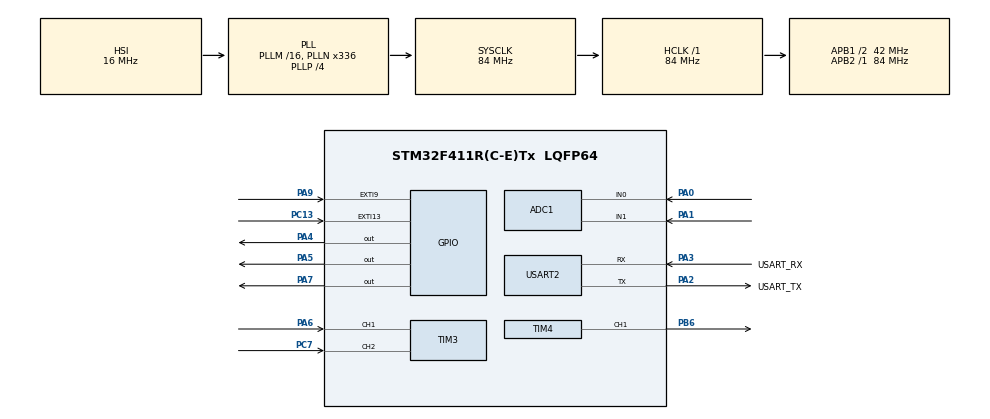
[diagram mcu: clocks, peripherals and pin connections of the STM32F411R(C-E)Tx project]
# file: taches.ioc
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ADC1.Channel-12\#ChannelRegularConversion=ADC_CHANNEL_0
ADC1.Channel-13\#ChannelRegularConversion=ADC_CHANNEL_1
ADC1.ContinuousConvMode=ENABLE
ADC1.DMAContinuousRequests=ENABLE
ADC1.NbrOfConversion=2
ADC1.NbrOfConversionFlag=1
ADC1.Rank-12\#ChannelRegularConversion=1
ADC1.Rank-13\#ChannelRegularConversion=2
ADC1.SamplingTime-12\#ChannelRegularConversion=ADC_SAMPLETIME_3CYCLES
ADC1.SamplingTime-13\#ChannelRegularConversion=ADC_SAMPLETIME_3CYCLES
ADC1.ScanConvMode=ENABLE
ADC1.master=1
Dma.ADC1.0.Direction=DMA_PERIPH_TO_MEMORY
Dma.ADC1.0.FIFOMode=DMA_FIFOMODE_DISABLE
Dma.ADC1.0.Instance=DMA2_Stream0
Dma.ADC1.0.MemDataAlignment=DMA_MDATAALIGN_HALFWORD
Dma.ADC1.0.MemInc=DMA_MINC_ENABLE
Dma.ADC1.0.Mode=DMA_NORMAL
Dma.ADC1.0.PeriphDataAlignment=DMA_PDATAALIGN_HALFWORD
Dma.ADC1.0.PeriphInc=DMA_PINC_DISABLE
Dma.ADC1.0.Priority=DMA_PRIORITY_LOW
Dma.Request0=ADC1
Mcu.Family=STM32F4
Mcu.Name=STM32F411R(C-E)Tx
Mcu.Package=LQFP64
NVIC.ADC_IRQn=true\:0\:0\:false\:false\:true\:true\:true\:true
NVIC.DMA2_Stream0_IRQn=true\:0\:0\:false\:false\:true\:false\:true\:true
NVIC.EXTI15_10_IRQn=true\:0\:0\:false\:false\:true\:true\:true\:true
NVIC.EXTI9_5_IRQn=true\:0\:0\:false\:false\:true\:true\:true\:true
NVIC.PriorityGroup=NVIC_PRIORITYGROUP_0
NVIC.TIM1_UP_TIM10_IRQn=true\:0\:0\:false\:false\:true\:true\:true\:true
NVIC.TIM2_IRQn=true\:0\:0\:false\:false\:true\:true\:true\:true
PA0-WKUP.Signal=ADCx_IN0
PA1.Signal=ADCx_IN1
PA13.GPIO_Label=TMS
PA13.Mode=Serial_Wire
PA13.Signal=SYS_JTMS-SWDIO
PA14.GPIO_Label=TCK
PA14.Mode=Serial_Wire
PA14.Signal=SYS_JTCK-SWCLK
PA2.GPIO_Label=USART_TX
PA2.Mode=Asynchronous
PA2.Signal=USART2_TX
PA3.GPIO_Label=USART_RX
PA3.Mode=Asynchronous
PA3.Signal=USART2_RX
PA4.Signal=GPIO_Output
PA5.Signal=GPIO_Output
PA6.Signal=S_TIM3_CH1
PA7.Signal=GPIO_Output
PA9.GPIO_ModeDefaultEXTI=GPIO_MODE_IT_RISING
PA9.Signal=GPXTI9
PB3.GPIO_Label=SWO
PB3.Signal=SYS_JTDO-SWO
PB6.Signal=S_TIM4_CH1
PC13-ANTI_TAMP.GPIO_ModeDefaultEXTI=GPIO_MODE_IT_FALLING
PC13-ANTI_TAMP.GPIO_PuPd=GPIO_PULLUP
PC13-ANTI_TAMP.Signal=GPXTI13
PC14-OSC32_IN.Mode=LSE-External-Oscillator
PC14-OSC32_IN.Signal=RCC_OSC32_IN
PC15-OSC32_OUT.Mode=LSE-External-Oscillator
PC15-OSC32_OUT.Signal=RCC_OSC32_OUT
PC7.Signal=S_TIM3_CH2
PH0\ -\ OSC_IN.Mode=HSE-External-Clock-Source
PH0\ -\ OSC_IN.Signal=RCC_OSC_IN
PH1\ -\ OSC_OUT.Mode=HSE-External-Clock-Source
PH1\ -\ OSC_OUT.Signal=RCC_OSC_OUT
ProjectManager.HeapSize=0x200
ProjectManager.StackSize=0x400
ProjectManager.TargetToolchain=STM32CubeIDE
RCC.48MHZClocksFreq_Value=84000000
RCC.AHBFreq_Value=84000000
RCC.APB1CLKDivider=RCC_HCLK_DIV2
RCC.APB1Freq_Value=42000000
RCC.APB1TimFreq_Value=84000000
RCC.APB2Freq_Value=84000000
RCC.APB2TimFreq_Value=84000000
RCC.CortexFreq_Value=84000000
RCC.FLatency-AdvancedSettings=FLASH_LATENCY_2
RCC.HCLKFreq_Value=84000000
RCC.HSE_VALUE=8000000
RCC.HSI_VALUE=16000000
RCC.PLLN=336
RCC.PLLP=RCC_PLLP_DIV4
RCC.SYSCLKFreq_VALUE=84000000
RCC.SYSCLKSource=RCC_SYSCLKSOURCE_PLLCLK
RCC.VCOOutputFreq_Value=336000000
SH.ADCx_IN0.0=ADC1_IN0,IN0
SH.ADCx_IN1.0=ADC1_IN1,IN1
SH.S_TIM3_CH1.0=TIM3_CH1,Encoder_Interface
SH.S_TIM3_CH2.0=TIM3_CH2,Encoder_Interface
SH.S_TIM4_CH1.0=TIM4_CH1,PWM Generation1 CH1
TIM1.Period=9
TIM1.Prescaler=8399
TIM2.Period=9
TIM2.Prescaler=8399
TIM3.EncoderMode=TIM_ENCODERMODE_TI12
TIM4.Channel-PWM\ Generation1\ CH1=TIM_CHANNEL_1
TIM4.Period=2099
USART2.VirtualMode=VM_ASYNC
VP_TIM1_VS_ClockSourceINT.Mode=Internal
VP_TIM2_VS_ClockSourceINT.Mode=Internal
VP_TIM4_VS_ClockSourceINT.Mode=Internal
board=NUCLEO-F411RE

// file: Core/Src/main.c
/* USER CODE BEGIN Header */
/**
  ******************************************************************************
  * @file           : main.c
  * @brief          : Main program body
  ******************************************************************************
  */
/* USER CODE END Header */
#include "main.h"

/* USER CODE BEGIN Includes */
#include <stdio.h>
#include <string.h>
/* USER CODE END Includes */

ADC_HandleTypeDef hadc1;
DMA_HandleTypeDef hdma_adc1;

TIM_HandleTypeDef htim1;
TIM_HandleTypeDef htim2;
TIM_HandleTypeDef htim3;
TIM_HandleTypeDef htim4;

UART_HandleTypeDef huart2;

void SystemClock_Config(void);
static void MX_GPIO_Init(void);
static void MX_DMA_Init(void);
static void MX_TIM1_Init(void);
static void MX_USART2_UART_Init(void);
static void MX_ADC1_Init(void);
static void MX_TIM3_Init(void);
static void MX_TIM4_Init(void);
static void MX_TIM2_Init(void);

/* USER CODE BEGIN 0 */
#define IN1_PIN  GPIO_PIN_4   // direction avant

#define IN_PORT  GPIOA
#define PWM_MAX  2099
#define VITESSE_MAX_RPM  250   // vitesse max du moteur (consigne 250 tr/min -> PWM max)

uint32_t counter = 0;
uint32_t valeur_brute = 0;
uint32_t valeur_courant_brute = 0;
float tension_volts = 0.0f;
float tension_courant = 0.0f;
float courant = 0.0f;
int16_t  count_precedent = 0;
volatile  int32_t  vitesse_rpm    = 0;
volatile uint8_t flag_1s = 0;
volatile uint8_t flag_100ms = 0;
volatile uint8_t sens = 0;
static int32_t position_precedente=0;
static uint32_t last_index_tick = 0;
static uint32_t tau=0;
static uint32_t temp2=0;
static uint32_t now=0;
uint16_t adc_buffer[2];

int tour;
volatile static int32_t count_actuel;

#define RESOLUTION_ENCODEUR  500
#define RAPPORT_REDUCTION    16

// Reception UART (commandes envoyees par l'IHM)
uint8_t rx_byte;
uint8_t rx_buffer[50];
uint8_t rx_index = 0;

// Controle du moteur depuis l'IHM (PC)
volatile uint8_t motor_running = 0;
volatile int32_t consigne_vitesse_rpm = 150;
volatile uint32_t current_pwm = 0;

void moteur_sens(uint8_t sens);

/* USER CODE END 0 */

int main(void)
{

  /* MCU Configuration--------------------------------------------------------*/

  /* Reset of all peripherals, Initializes the Flash interface and the Systick. */
  HAL_Init();

  /* Configure the system clock */
  SystemClock_Config();

  /* Initialize all configured peripherals */
  MX_GPIO_Init();
  MX_DMA_Init();
  MX_TIM1_Init();
  MX_USART2_UART_Init();
  MX_ADC1_Init();
  MX_TIM3_Init();
  MX_TIM4_Init();
  MX_TIM2_Init();
  /* USER CODE BEGIN 2 */
  HAL_TIM_Encoder_Start(&htim3, TIM_CHANNEL_ALL);

  // Timer 1ms pour les tâches périodiques
  HAL_TIM_Base_Start_IT(&htim1);

  HAL_TIM_Base_Start_IT(&htim2);

  // Direction moteur : AVANT (IN1=1, IN2=0)
  HAL_GPIO_WritePin(IN_PORT, IN1_PIN, 1);

  // Démarrer le PWM sur TIM3 Channel 1 (PA6)
  HAL_TIM_PWM_Start(&htim4, TIM_CHANNEL_1);

  // Duty cycle initial à 50%
  __HAL_TIM_SET_COMPARE(&htim4, TIM_CHANNEL_1, 500);
  HAL_ADC_Start_DMA(&hadc1,(uint32_t*)adc_buffer, 2);

  // Demarrer la reception UART par interruption (commandes de l'IHM)
  HAL_UART_Receive_IT(&huart2, &rx_byte, 1);

  /* USER CODE END 2 */

  /* Infinite loop */
  while (1)
  {

    /* USER CODE BEGIN 3 */
	  if(flag_1s)
	  	      {
	  	          flag_1s = 0;

	  	             // Tâche 1 : LED blink
	  	            // HAL_GPIO_TogglePin(LD2_GPIO_Port, LD2_Pin);
	  	       // HAL_GPIO_TogglePin(GPIOA, GPIO_PIN_5);

	  	             // Tâche 2 : lecture ADC (potentiomètre → consigne vitesse)

	  	             valeur_brute= adc_buffer[0];
	  	               valeur_courant_brute = adc_buffer[1];

	  	             tension_volts = valeur_brute * 3.3f / 4095.0f;
	  	             tension_courant=valeur_courant_brute * 3.3f / 4095.0f;
	  	             courant=(tension_courant/0.05f)/200.0f;

	  	             // Mode par defaut : PWM pilote par le potentiometre (ADC).
	  	             // Apres START depuis l'IHM (motor_running=1) : PWM pilote par la consigne PC.
	  	             uint32_t duty;
	  	             if (motor_running)
	  	             {
	  	                 duty = current_pwm;                          // consigne IHM
	  	             }
	  	             else
	  	             {
	  	                 duty = (valeur_brute * PWM_MAX) / 4095.0f;   // potentiometre
	  	             }
	  	             __HAL_TIM_SET_COMPARE(&htim4, TIM_CHANNEL_1, duty);

	  	             // Tâche 3 : UART
	  	             char msg[120];
	  	             int partie_entiere = (int)tension_volts;
	  	             int partie_decimale = (int)((tension_volts - partie_entiere) * 100);

	  	           int partie_entiere_courant = (int)courant;
	  	           int partie_decimale_courant =
	  	                   (int)((courant - partie_entiere_courant) * 100);
	  	         sprintf(msg,
	  	                 "ADC:%u  Tension:%d.%02dV  Courant:%d.%02dA  tau:%u  PWM:%lu  Vitesse:%ld RPM\r\n",
	  	                 (unsigned int)valeur_brute,
	  	                 partie_entiere,
	  	                 partie_decimale,
	  	                 partie_entiere_courant,
	  	                 partie_decimale_courant,
	  	                 tau,
	  	                 duty,
	  	                 vitesse_rpm);

	  	            /* sprintf(msg, "ADC:%u  PWM:%lu  Count:%u  Delta:%d  Vitesse:%ld RPM\r\n",
	  	                         (unsigned int)valeur_brute,
	  	                         duty,
	  	                         (unsigned int)__HAL_TIM_GET_COUNTER(&htim4),
	  	                         (int)delta,
	  	                         vitesse_rpm);*/
	  	             HAL_UART_Transmit(&huart2, (uint8_t*)msg, strlen(msg), HAL_MAX_DELAY);

	    }
	  	   if(flag_100ms)
	        {
	  		  if(vitesse_rpm!=0 && now==0){

	  			 now = HAL_GetTick();

	  		  }

	  		int sens_encodeur = __HAL_TIM_IS_TIM_COUNTING_DOWN(&htim3);
	            flag_100ms = 0;
	             count_actuel = (int32_t)__HAL_TIM_GET_COUNTER(&htim3);
	            int32_t delta = count_actuel - count_precedent;

	            // correction overflow 16 bits
	            if(delta > 32767) delta -= 65536;
	            if(delta < -32768) delta += 65536;

	            count_precedent = count_actuel;

	            vitesse_rpm = (delta * 600) / (RESOLUTION_ENCODEUR *4* RAPPORT_REDUCTION);

	            if(sens_encodeur){
	            	vitesse_rpm*=-1;

	                	}
	            if(vitesse_rpm>=218 && temp2==0){
	           	            	temp2=HAL_GetTick();

	           	            }

	           	            if(now != 0 && temp2 != 0)
	           	            {
	           	                tau = temp2 - now;
	           	            }

	  			/*int sens_encodeur = __HAL_TIM_IS_TIM_COUNTING_DOWN(&htim4);

	  			    	 count_actuel = (int32_t)__HAL_TIM_GET_COUNTER(&htim4);

	  			    	if(!sens_encodeur){
	  			    		tour++;
	  			    		__HAL_TIM_SET_COUNTER(&htim4, 0);

	  			    	}
	  			    	else{
	  			    		tour--;
	  			    		__HAL_TIM_SET_COUNTER(&htim4, 2000);

	  			    	}
	  			    	int32_t position=tour*RESOLUTION_ENCODEUR*4 + count_actuel;

	  			    	   /* vitesse_rpm = ((position - position_precedente) ) / (4*RESOLUTION_ENCODEUR*RAPPORT_REDUCTION*60*0.1 );
	  			    	vitesse_rpm = (int32_t)((float)(position - position_precedente)* 60.0f
	  			    		  			    	                / (4.0f * RESOLUTION_ENCODEUR * RAPPORT_REDUCTION * 0.1f));
	  			    	    position_precedente=position;*/

	    }
	    }
  /* USER CODE END 3 */
}

void SystemClock_Config(void)
{
  RCC_OscInitTypeDef RCC_OscInitStruct = {0};
  RCC_ClkInitTypeDef RCC_ClkInitStruct = {0};

  /** Configure the main internal regulator output voltage
  */
  __HAL_RCC_PWR_CLK_ENABLE();
  __HAL_PWR_VOLTAGESCALING_CONFIG(PWR_REGULATOR_VOLTAGE_SCALE1);

  /** Initializes the RCC Oscillators according to the specified parameters
  * in the RCC_OscInitTypeDef structure.
  */
  RCC_OscInitStruct.OscillatorType = RCC_OSCILLATORTYPE_HSI;
  RCC_OscInitStruct.HSIState = RCC_HSI_ON;
  RCC_OscInitStruct.HSICalibrationValue = RCC_HSICALIBRATION_DEFAULT;
  RCC_OscInitStruct.PLL.PLLState = RCC_PLL_ON;
  RCC_OscInitStruct.PLL.PLLSource = RCC_PLLSOURCE_HSI;
  RCC_OscInitStruct.PLL.PLLM = 16;
  RCC_OscInitStruct.PLL.PLLN = 336;
  RCC_OscInitStruct.PLL.PLLP = RCC_PLLP_DIV4;
  RCC_OscInitStruct.PLL.PLLQ = 4;
  if (HAL_RCC_OscConfig(&RCC_OscInitStruct) != HAL_OK)
  {
    Error_Handler();
  }

  /** Initializes the CPU, AHB and APB buses clocks
  */
  RCC_ClkInitStruct.ClockType = RCC_CLOCKTYPE_HCLK|RCC_CLOCKTYPE_SYSCLK
                              |RCC_CLOCKTYPE_PCLK1|RCC_CLOCKTYPE_PCLK2;
  RCC_ClkInitStruct.SYSCLKSource = RCC_SYSCLKSOURCE_PLLCLK;
  RCC_ClkInitStruct.AHBCLKDivider = RCC_SYSCLK_DIV1;
  RCC_ClkInitStruct.APB1CLKDivider = RCC_HCLK_DIV2;
  RCC_ClkInitStruct.APB2CLKDivider = RCC_HCLK_DIV1;

  if (HAL_RCC_ClockConfig(&RCC_ClkInitStruct, FLASH_LATENCY_2) != HAL_OK)
  {
    Error_Handler();
  }
}

static void MX_ADC1_Init(void)
{

  ADC_ChannelConfTypeDef sConfig = {0};

  /** Configure the global features of the ADC (Clock, Resolution, Data Alignment and number of conversion)
  */
  hadc1.Instance = ADC1;
  hadc1.Init.ClockPrescaler = ADC_CLOCK_SYNC_PCLK_DIV4;
  hadc1.Init.Resolution = ADC_RESOLUTION_12B;
  hadc1.Init.ScanConvMode = ENABLE;
  hadc1.Init.ContinuousConvMode = ENABLE;
  hadc1.Init.DiscontinuousConvMode = DISABLE;
  hadc1.Init.ExternalTrigConvEdge = ADC_EXTERNALTRIGCONVEDGE_NONE;
  hadc1.Init.ExternalTrigConv = ADC_SOFTWARE_START;
  hadc1.Init.DataAlign = ADC_DATAALIGN_RIGHT;
  hadc1.Init.NbrOfConversion = 2;
  hadc1.Init.DMAContinuousRequests = ENABLE;
  hadc1.Init.EOCSelection = ADC_EOC_SINGLE_CONV;
  if (HAL_ADC_Init(&hadc1) != HAL_OK)
  {
    Error_Handler();
  }

  /** Configure for the selected ADC regular channel its corresponding rank in the sequencer and its sample time.
  */
  sConfig.Channel = ADC_CHANNEL_0;
  sConfig.Rank = 1;
  sConfig.SamplingTime = ADC_SAMPLETIME_3CYCLES;
  if (HAL_ADC_ConfigChannel(&hadc1, &sConfig) != HAL_OK)
  {
    Error_Handler();
  }

  /** Configure for the selected ADC regular channel its corresponding rank in the sequencer and its sample time.
  */
  sConfig.Channel = ADC_CHANNEL_1;
  sConfig.Rank = 2;
  if (HAL_ADC_ConfigChannel(&hadc1, &sConfig) != HAL_OK)
  {
    Error_Handler();
  }

}

static void MX_TIM1_Init(void)
{

  TIM_ClockConfigTypeDef sClockSourceConfig = {0};
  TIM_MasterConfigTypeDef sMasterConfig = {0};

  htim1.Instance = TIM1;
  htim1.Init.Prescaler = 8399;
  htim1.Init.CounterMode = TIM_COUNTERMODE_UP;
  htim1.Init.Period = 9;
  htim1.Init.ClockDivision = TIM_CLOCKDIVISION_DIV1;
  htim1.Init.RepetitionCounter = 0;
  htim1.Init.AutoReloadPreload = TIM_AUTORELOAD_PRELOAD_DISABLE;
  if (HAL_TIM_Base_Init(&htim1) != HAL_OK)
  {
    Error_Handler();
  }
  sClockSourceConfig.ClockSource = TIM_CLOCKSOURCE_INTERNAL;
  if (HAL_TIM_ConfigClockSource(&htim1, &sClockSourceConfig) != HAL_OK)
  {
    Error_Handler();
  }
  sMasterConfig.MasterOutputTrigger = TIM_TRGO_RESET;
  sMasterConfig.MasterSlaveMode = TIM_MASTERSLAVEMODE_DISABLE;
  if (HAL_TIMEx_MasterConfigSynchronization(&htim1, &sMasterConfig) != HAL_OK)
  {
    Error_Handler();
  }

}

static void MX_TIM2_Init(void)
{

  TIM_ClockConfigTypeDef sClockSourceConfig = {0};
  TIM_MasterConfigTypeDef sMasterConfig = {0};

  htim2.Instance = TIM2;
  htim2.Init.Prescaler = 8399;
  htim2.Init.CounterMode = TIM_COUNTERMODE_UP;
  htim2.Init.Period = 9;
  htim2.Init.ClockDivision = TIM_CLOCKDIVISION_DIV1;
  htim2.Init.AutoReloadPreload = TIM_AUTORELOAD_PRELOAD_DISABLE;
  if (HAL_TIM_Base_Init(&htim2) != HAL_OK)
  {
    Error_Handler();
  }
  sClockSourceConfig.ClockSource = TIM_CLOCKSOURCE_INTERNAL;
  if (HAL_TIM_ConfigClockSource(&htim2, &sClockSourceConfig) != HAL_OK)
  {
    Error_Handler();
  }
  sMasterConfig.MasterOutputTrigger = TIM_TRGO_RESET;
  sMasterConfig.MasterSlaveMode = TIM_MASTERSLAVEMODE_DISABLE;
  if (HAL_TIMEx_MasterConfigSynchronization(&htim2, &sMasterConfig) != HAL_OK)
  {
    Error_Handler();
  }

}

static void MX_TIM3_Init(void)
{

  TIM_Encoder_InitTypeDef sConfig = {0};
  TIM_MasterConfigTypeDef sMasterConfig = {0};

  htim3.Instance = TIM3;
  htim3.Init.Prescaler = 0;
  htim3.Init.CounterMode = TIM_COUNTERMODE_UP;
  htim3.Init.Period = 65535;
  htim3.Init.ClockDivision = TIM_CLOCKDIVISION_DIV1;
  htim3.Init.AutoReloadPreload = TIM_AUTORELOAD_PRELOAD_DISABLE;
  sConfig.EncoderMode = TIM_ENCODERMODE_TI12;
  sConfig.IC1Polarity = TIM_ICPOLARITY_RISING;
  sConfig.IC1Selection = TIM_ICSELECTION_DIRECTTI;
  sConfig.IC1Prescaler = TIM_ICPSC_DIV1;
  sConfig.IC1Filter = 0;
  sConfig.IC2Polarity = TIM_ICPOLARITY_RISING;
  sConfig.IC2Selection = TIM_ICSELECTION_DIRECTTI;
  sConfig.IC2Prescaler = TIM_ICPSC_DIV1;
  sConfig.IC2Filter = 0;
  if (HAL_TIM_Encoder_Init(&htim3, &sConfig) != HAL_OK)
  {
    Error_Handler();
  }
  sMasterConfig.MasterOutputTrigger = TIM_TRGO_RESET;
  sMasterConfig.MasterSlaveMode = TIM_MASTERSLAVEMODE_DISABLE;
  if (HAL_TIMEx_MasterConfigSynchronization(&htim3, &sMasterConfig) != HAL_OK)
  {
    Error_Handler();
  }

}

static void MX_TIM4_Init(void)
{

  TIM_ClockConfigTypeDef sClockSourceConfig = {0};
  TIM_MasterConfigTypeDef sMasterConfig = {0};
  TIM_OC_InitTypeDef sConfigOC = {0};

  htim4.Instance = TIM4;
  htim4.Init.Prescaler = 0;
  htim4.Init.CounterMode = TIM_COUNTERMODE_UP;
  htim4.Init.Period = 2099;
  htim4.Init.ClockDivision = TIM_CLOCKDIVISION_DIV1;
  htim4.Init.AutoReloadPreload = TIM_AUTORELOAD_PRELOAD_DISABLE;
  if (HAL_TIM_Base_Init(&htim4) != HAL_OK)
  {
    Error_Handler();
  }
  sClockSourceConfig.ClockSource = TIM_CLOCKSOURCE_INTERNAL;
  if (HAL_TIM_ConfigClockSource(&htim4, &sClockSourceConfig) != HAL_OK)
  {
    Error_Handler();
  }
  if (HAL_TIM_PWM_Init(&htim4) != HAL_OK)
  {
    Error_Handler();
  }
  sMasterConfig.MasterOutputTrigger = TIM_TRGO_RESET;
  sMasterConfig.MasterSlaveMode = TIM_MASTERSLAVEMODE_DISABLE;
  if (HAL_TIMEx_MasterConfigSynchronization(&htim4, &sMasterConfig) != HAL_OK)
  {
    Error_Handler();
  }
  sConfigOC.OCMode = TIM_OCMODE_PWM1;
  sConfigOC.Pulse = 0;
  sConfigOC.OCPolarity = TIM_OCPOLARITY_HIGH;
  sConfigOC.OCFastMode = TIM_OCFAST_DISABLE;
  if (HAL_TIM_PWM_ConfigChannel(&htim4, &sConfigOC, TIM_CHANNEL_1) != HAL_OK)
  {
    Error_Handler();
  }
  HAL_TIM_MspPostInit(&htim4);

}

static void MX_USART2_UART_Init(void)
{

  huart2.Instance = USART2;
  huart2.Init.BaudRate = 115200;
  huart2.Init.WordLength = UART_WORDLENGTH_8B;
  huart2.Init.StopBits = UART_STOPBITS_1;
  huart2.Init.Parity = UART_PARITY_NONE;
  huart2.Init.Mode = UART_MODE_TX_RX;
  huart2.Init.HwFlowCtl = UART_HWCONTROL_NONE;
  huart2.Init.OverSampling = UART_OVERSAMPLING_16;
  if (HAL_UART_Init(&huart2) != HAL_OK)
  {
    Error_Handler();
  }

}

static void MX_DMA_Init(void)
{

  /* DMA controller clock enable */
  __HAL_RCC_DMA2_CLK_ENABLE();

  /* DMA interrupt init */
  /* DMA2_Stream0_IRQn interrupt configuration */
  HAL_NVIC_SetPriority(DMA2_Stream0_IRQn, 0, 0);
  HAL_NVIC_EnableIRQ(DMA2_Stream0_IRQn);

}

static void MX_GPIO_Init(void)
{
  GPIO_InitTypeDef GPIO_InitStruct = {0};

  /* GPIO Ports Clock Enable */
  __HAL_RCC_GPIOC_CLK_ENABLE();
  __HAL_RCC_GPIOH_CLK_ENABLE();
  __HAL_RCC_GPIOA_CLK_ENABLE();
  __HAL_RCC_GPIOB_CLK_ENABLE();

  /*Configure GPIO pin Output Level */
  HAL_GPIO_WritePin(GPIOA, GPIO_PIN_4|GPIO_PIN_5|GPIO_PIN_7, GPIO_PIN_RESET);

  /*Configure GPIO pin : PC13 */
  GPIO_InitStruct.Pin = GPIO_PIN_13;
  GPIO_InitStruct.Mode = GPIO_MODE_IT_FALLING;
  GPIO_InitStruct.Pull = GPIO_PULLUP;
  HAL_GPIO_Init(GPIOC, &GPIO_InitStruct);

  /*Configure GPIO pins : PA4 PA5 PA7 */
  GPIO_InitStruct.Pin = GPIO_PIN_4|GPIO_PIN_5|GPIO_PIN_7;
  GPIO_InitStruct.Mode = GPIO_MODE_OUTPUT_PP;
  GPIO_InitStruct.Pull = GPIO_NOPULL;
  GPIO_InitStruct.Speed = GPIO_SPEED_FREQ_LOW;
  HAL_GPIO_Init(GPIOA, &GPIO_InitStruct);

  /*Configure GPIO pin : PA9 */
  GPIO_InitStruct.Pin = GPIO_PIN_9;
  GPIO_InitStruct.Mode = GPIO_MODE_IT_RISING;
  GPIO_InitStruct.Pull = GPIO_NOPULL;
  HAL_GPIO_Init(GPIOA, &GPIO_InitStruct);

  /* EXTI interrupt init*/
  HAL_NVIC_SetPriority(EXTI9_5_IRQn, 0, 0);
  HAL_NVIC_EnableIRQ(EXTI9_5_IRQn);

  HAL_NVIC_SetPriority(EXTI15_10_IRQn, 0, 0);
  HAL_NVIC_EnableIRQ(EXTI15_10_IRQn);

}

/* USER CODE BEGIN 4 */
volatile int comp;

void HAL_TIM_PeriodElapsedCallback(TIM_HandleTypeDef *htim)
{
    if(htim->Instance == TIM1)
    {
        counter++;

        if(counter >= 1000) // toutes les secondes
        {
        	 HAL_ADC_Start_DMA(&hadc1,(uint32_t*)adc_buffer, 2);
        	flag_1s=1;
            counter = 0;

        }
    }
    else if(htim->Instance == TIM2)
      {
    	comp++;
    	  if(comp >= 100) // toutes les 100 millisecondes
    	        {
    	        	flag_100ms=1;
    	            comp = 0;

      }
}
}
void moteur_sens(uint8_t sens)
{
    // HIGH = arrière, LOW = avant
    HAL_GPIO_WritePin(IN_PORT, IN1_PIN, (sens ? 1 : 0));
}
volatile uint32_t last_press = 0;

void HAL_GPIO_EXTI_Callback(uint16_t GPIO_Pin)
{

	uint32_t now;
	uint32_t now_moteur;
	uint32_t dt;

	int sens_encodeur = __HAL_TIM_IS_TIM_COUNTING_DOWN(&htim4);
    if(GPIO_Pin == GPIO_PIN_13)
    {
         now_moteur = HAL_GetTick();

        if((now_moteur - last_press) > 200)
        {
            last_press = now_moteur;
            sens = !sens;
            moteur_sens(sens);
        }
    }
    /*else if(GPIO_Pin == GPIO_PIN_9){
    	 now = HAL_GetTick();
    	 dt = now - last_index_tick;
    	if(dt == 0) dt = 1;
    	 count_actuel = (int32_t)__HAL_TIM_GET_COUNTER(&htim4);

    	if(!sens_encodeur){
    		tour++;
    		__HAL_TIM_SET_COUNTER(&htim4, 0);

    	}
    	else{
    		tour--;
    		__HAL_TIM_SET_COUNTER(&htim4, 2000);

    	}
    	int32_t position=tour*RESOLUTION_ENCODEUR*4 + count_actuel;

    	    vitesse_rpm = ((position - position_precedente) * 60000) / (4*RESOLUTION_ENCODEUR*RAPPORT_REDUCTION * dt);
    	    position_precedente=position;
    	    last_index_tick = now;

    }*/

}

// Reception des commandes envoyees par l'IHM (START/STOP/DIR/SPEED)
void HAL_UART_RxCpltCallback(UART_HandleTypeDef *huart)
{
    if (huart->Instance == USART2)
    {
        if (rx_byte == '\n' || rx_byte == '\r')
        {
            rx_buffer[rx_index] = '\0'; // Fin de chaine

            if (rx_index > 0)
            {
                if (strncmp((char*)rx_buffer, "START", 5) == 0)
                {
                    motor_running = 1;
                    current_pwm = (consigne_vitesse_rpm * PWM_MAX) / VITESSE_MAX_RPM;
                    if (current_pwm > PWM_MAX) current_pwm = PWM_MAX;
                    if (current_pwm == 0) current_pwm = 200; // petite rotation si consigne 0
                }
                else if (strncmp((char*)rx_buffer, "STOP", 4) == 0)
                {
                    motor_running = 0;
                    current_pwm = 0; // arret : PWM a 0
                }
                else if (strncmp((char*)rx_buffer, "DIR:GAUCHE", 10) == 0)
                {
                    sens = 1;
                    moteur_sens(sens);
                }
                else if (strncmp((char*)rx_buffer, "DIR:DROITE", 10) == 0)
                {
                    sens = 0;
                    moteur_sens(sens);
                }
                else if (strncmp((char*)rx_buffer, "SPEED:", 6) == 0)
                {
                    int vitesse;
                    if (sscanf((char*)rx_buffer + 6, "%d", &vitesse) == 1)
                    {
                        // borner la consigne a [0, VITESSE_MAX_RPM]
                        if (vitesse < 0) vitesse = 0;
                        if (vitesse > VITESSE_MAX_RPM) vitesse = VITESSE_MAX_RPM;
                        consigne_vitesse_rpm = vitesse;
                        if (motor_running)
                        {
                            current_pwm = (consigne_vitesse_rpm * PWM_MAX) / VITESSE_MAX_RPM;
                            if (current_pwm > PWM_MAX) current_pwm = PWM_MAX;
                        }
                    }
                }
            }

            rx_index = 0; // reinitialiser pour la prochaine commande
        }
        else
        {
            if (rx_index < sizeof(rx_buffer) - 1)
            {
                rx_buffer[rx_index++] = rx_byte;
            }
        }

        // Relancer la reception du prochain octet
        HAL_UART_Receive_IT(&huart2, &rx_byte, 1);
    }
}

/* USER CODE END 4 */

void Error_Handler(void)
{
  __disable_irq();
  while (1)
  {
  }
}
